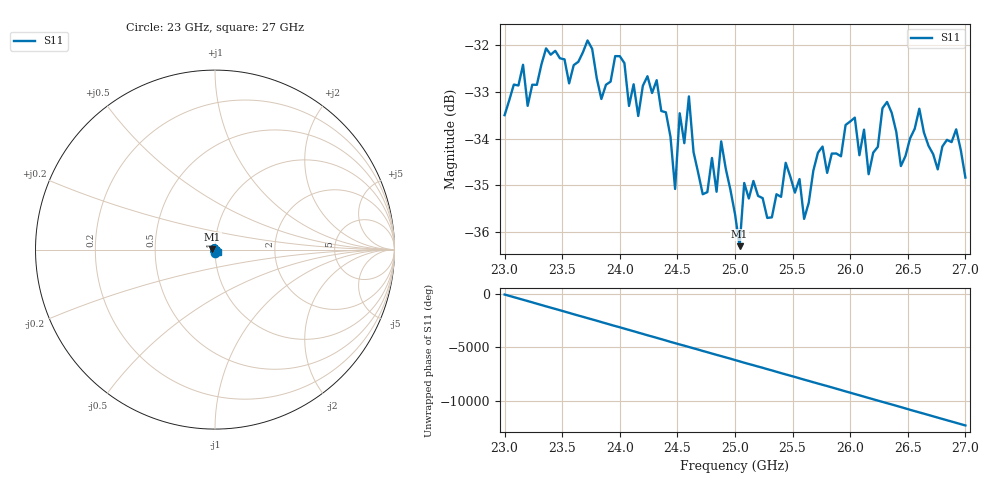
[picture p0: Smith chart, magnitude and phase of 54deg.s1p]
#  HZ  S  RI  R  50.00
! Rohde & Schwarz ZVA40 4Ports - Version 3.90 - 1145.1110k42 SN: 100403
! Date: 2023-09-26 10:43:33
! Measurement: S12
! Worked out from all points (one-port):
!   101 points, 23 GHz to 27 GHz, reference 50 ohm
!   lowest |S11| = -36.3 dB at 25.04 GHz (marker M1), VSWR 1.03, Z = 48.5 + j0.307 ohm
!   |S11| at or under -10 dB: start of sweep to end of sweep
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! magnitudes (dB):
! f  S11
! 23 GHz  -33.5
! 23.52 GHz  -32.3
! 23.72 GHz  -31.9
! 23.84 GHz  -33.2
! 24 GHz  -32.2
! 24.16 GHz  -33.5
! 24.32 GHz  -32.8
! 24.48 GHz  -35.1
! 24.52 GHz  -33.5
! 24.56 GHz  -34.1
! 24.6 GHz  -33.1
! 24.72 GHz  -35.2
! 24.84 GHz  -35.1
! 24.88 GHz  -34.1
! 25 GHz  -35.6
! 25.04 GHz  -36.3
! 25.08 GHz  -34.9
! 25.52 GHz  -35.2
! 25.6 GHz  -35.7
! 25.72 GHz  -34.3
! 26 GHz  -33.6
! 26.16 GHz  -34.8
! 26.32 GHz  -33.2
! 26.44 GHz  -34.6
! 26.52 GHz  -34.0
! 26.76 GHz  -34.7
! 26.92 GHz  -33.8
! 27 GHz  -34.8
